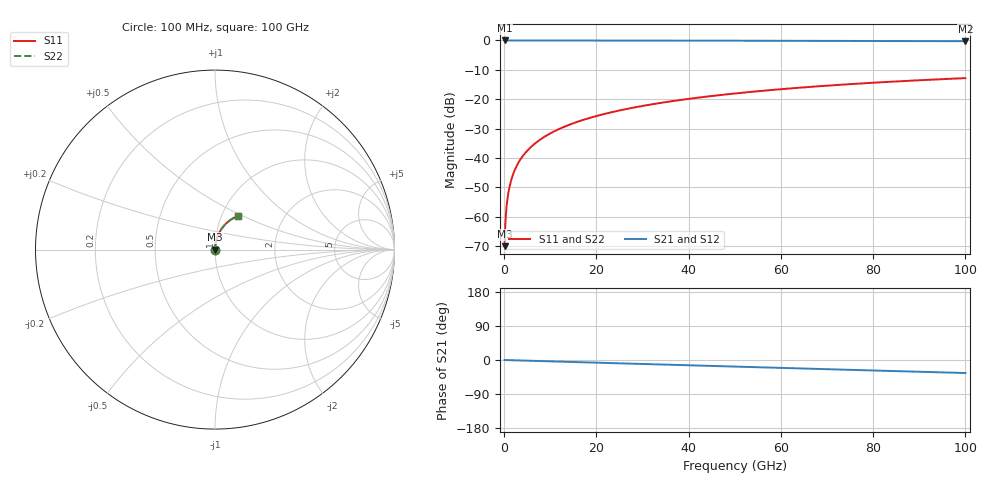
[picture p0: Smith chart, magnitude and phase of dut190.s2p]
! Touchstone file exported from HFSS 2026.1.0
!  File:  C:/ffzhzh/LocalFiles/Ansys_Project_Files/temp_train_TSV_190_1783507285_9504.aedt
!  Generated:  06:42:42 PM Jul  8, 2026
!  Design:  TSV
!  Project:  temp_train_TSV_190_1783507285_9504
! Variables:
!  h_bsmrdl = 2um
!  h_ox = 20um
!  h_rdl = 5um
!  h_sub = 55.22um
!  h_tmrdl = 5um
!  h_tsv = 55.22um
!  h_via = 3um
!  l_bsmrdl = 300um
!  l_sub = 416.7um
!  l_tmrdl = 200um
!  m_sub = 200um
!  pitch = 59.09um
!  r_tsv = 8.35um
!  s_tmrdl = 10um
!  w_bsmrdl = 18um
!  w_sub = 500um
!  w_tmrdl = 12um
!  x_tsv_center1 = 206um
!  x_tsv_center2 = 524um
!  x_tsv_center3 = 736um
!  x_tsv_center4 = 1054um
!  x_tsv_center5 = 1266um
!  x_tsv_center6 = 1584um
# GHz S MA R 50.000000
! Terminal data exported
! Port[1] = TSV1_1_T1
! Port[2] = TSV1_1_T2
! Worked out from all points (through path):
!   1000 points, 100 MHz to 100 GHz, reference 50 ohm
!   highest |S21| = 0.00 dB at 100 MHz (marker M1); lowest = -0.3 dB at 100 GHz (marker M2)
!   group delay of S21, straight-line fit = 955 fs
!   lowest |S11| = -70.0 dB at 100 MHz (marker M3), VSWR 1.00, Z = 50 + j0.0291 ohm
!   |S11| at or under -10 dB: start of sweep to end of sweep
!   |S22| runs from -70.0 to -12.8 dB; largest |S21 - S12| = 2.7e-15
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0.1  0.0003162 66.9  0.9999 -0.0  0.9999 -0.0  0.0003162 66.9
! Gamma 0 0 0 0
! Port Impedance 50 0 50 0
0.3  0.0008732 80.2  0.9999 -0.1  0.9999 -0.1  0.0008732 80.2
0.7  0.001967 84.0  0.9998 -0.3  0.9998 -0.3  0.001967 84.0
0.8  0.002237 84.4  0.9998 -0.3  0.9998 -0.3  0.002237 84.4
1  0.002776 84.9  0.9998 -0.4  0.9998 -0.4  0.002776 84.9
1.3  0.00358 85.4  0.9997 -0.5  0.9997 -0.5  0.00358 85.4
1.7  0.004646 85.8  0.9997 -0.6  0.9997 -0.6  0.004646 85.8
2.3  0.006234 86.0  0.9996 -0.8  0.9996 -0.8  0.006234 86.0
2.9  0.00781 86.1  0.9996 -1.0  0.9996 -1.0  0.00781 86.1
3.7  0.0099 86.1  0.9995 -1.3  0.9995 -1.3  0.0099 86.1
4.7  0.0125 86.0  0.9994 -1.7  0.9994 -1.7  0.0125 86.0
5.8  0.01536 85.9  0.9993 -2.1  0.9993 -2.1  0.01536 85.9
8.7  0.02287 85.2  0.9991 -3.1  0.9991 -3.1  0.02287 85.2
12.3  0.03213 84.2  0.9987 -4.3  0.9987 -4.3  0.03213 84.2
16.8  0.04364 82.8  0.9981 -5.9  0.9981 -5.9  0.04364 82.8
24.2  0.0624 80.5  0.9969 -8.5  0.9969 -8.5  0.0624 80.5
33.4  0.08533 77.4  0.995 -11.7  0.995 -11.7  0.08533 77.4
41.2  0.1043 74.8  0.993 -14.4  0.993 -14.4  0.1043 74.8
50.1  0.1255 71.8  0.9905 -17.5  0.9905 -17.5  0.1255 71.8
66.7  0.163 66.2  0.9848 -23.2  0.9848 -23.2  0.163 66.2
83.4  0.1976 60.6  0.9782 -28.8  0.9782 -28.8  0.1976 60.6
100  0.2285 55.2  0.9712 -34.4  0.9712 -34.4  0.2285 55.2
